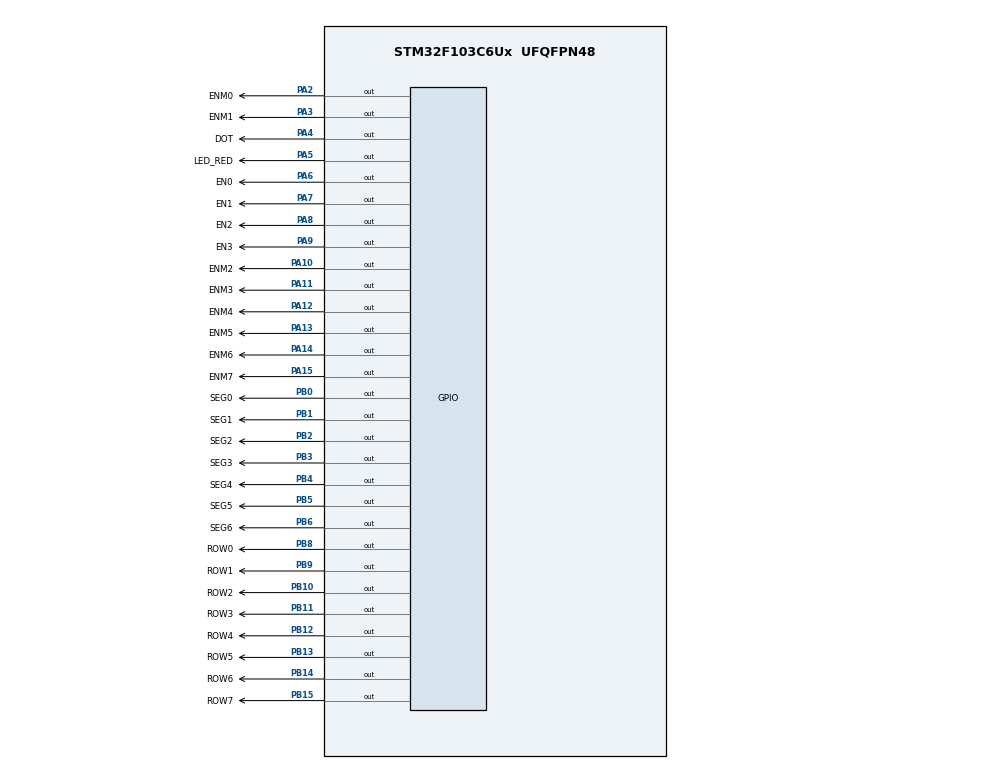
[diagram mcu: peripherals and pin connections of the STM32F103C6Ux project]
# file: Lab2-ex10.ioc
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Mcu.Family=STM32F1
Mcu.Name=STM32F103C6Ux
Mcu.Package=UFQFPN48
NVIC.PriorityGroup=NVIC_PRIORITYGROUP_4
NVIC.TIM2_IRQn=true\:0\:0\:false\:false\:true\:true\:true
PA10.GPIO_Label=ENM2
PA10.Signal=GPIO_Output
PA11.GPIO_Label=ENM3
PA11.Signal=GPIO_Output
PA12.GPIO_Label=ENM4
PA12.Signal=GPIO_Output
PA13.GPIO_Label=ENM5
PA13.Signal=GPIO_Output
PA14.GPIO_Label=ENM6
PA14.Signal=GPIO_Output
PA15.GPIO_Label=ENM7
PA15.Signal=GPIO_Output
PA2.GPIO_Label=ENM0
PA2.Signal=GPIO_Output
PA3.GPIO_Label=ENM1
PA3.Signal=GPIO_Output
PA4.GPIO_Label=DOT
PA4.Signal=GPIO_Output
PA5.GPIO_Label=LED_RED
PA5.Signal=GPIO_Output
PA6.GPIO_Label=EN0
PA6.Signal=GPIO_Output
PA7.GPIO_Label=EN1
PA7.Signal=GPIO_Output
PA8.GPIO_Label=EN2
PA8.Signal=GPIO_Output
PA9.GPIO_Label=EN3
PA9.Signal=GPIO_Output
PB0.GPIO_Label=SEG0
PB0.Signal=GPIO_Output
PB1.GPIO_Label=SEG1
PB1.Signal=GPIO_Output
PB10.GPIO_Label=ROW2
PB10.Signal=GPIO_Output
PB11.GPIO_Label=ROW3
PB11.Signal=GPIO_Output
PB12.GPIO_Label=ROW4
PB12.Signal=GPIO_Output
PB13.GPIO_Label=ROW5
PB13.Signal=GPIO_Output
PB14.GPIO_Label=ROW6
PB14.Signal=GPIO_Output
PB15.GPIO_Label=ROW7
PB15.Signal=GPIO_Output
PB2.GPIO_Label=SEG2
PB2.Signal=GPIO_Output
PB3.GPIO_Label=SEG3
PB3.Signal=GPIO_Output
PB4.GPIO_Label=SEG4
PB4.Signal=GPIO_Output
PB5.GPIO_Label=SEG5
PB5.Signal=GPIO_Output
PB6.GPIO_Label=SEG6
PB6.Signal=GPIO_Output
PB8.GPIO_Label=ROW0
PB8.Signal=GPIO_Output
PB9.GPIO_Label=ROW1
PB9.Signal=GPIO_Output
ProjectManager.HeapSize=0x200
ProjectManager.StackSize=0x400
ProjectManager.TargetToolchain=STM32CubeIDE
RCC.APB1Freq_Value=8000000
RCC.APB2Freq_Value=8000000
TIM2.Period=9
TIM2.Prescaler=7999
VP_SYS_VS_ND.Mode=No_Debug
VP_TIM2_VS_ClockSourceINT.Mode=Internal
board=custom

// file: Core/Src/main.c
/* USER CODE BEGIN Header */
/**
  ******************************************************************************
  * @file           : main.c
  * @brief          : Main program body
  ******************************************************************************
  * @attention
  *
  * <h2><center>&copy; Copyright (c) 2025 STMicroelectronics.
  * All rights reserved.</center></h2>
  *
  * This software component is licensed by ST under BSD 3-Clause license,
  * the "License"; You may not use this file except in compliance with the
  * License. You may obtain a copy of the License at:
  *                        opensource.org/licenses/BSD-3-Clause
  *
  ******************************************************************************
  */
/* USER CODE END Header */
#include "main.h"

TIM_HandleTypeDef htim2;

/* USER CODE BEGIN PV */
int led_buffer[4] = {1, 5, 0, 8};
int index_led = 0;
int hour = 15, minute = 8, second = 50;
int matrix_index = 0;
/* USER CODE END PV */

void SystemClock_Config(void);
static void MX_GPIO_Init(void);
static void MX_TIM2_Init(void);

/* USER CODE BEGIN 0 */
int TIMER_CYCLE = 10;
// Timer 1: To scan 4 LED 7 segment (T = 500ms)
int timer0_counter = 0;
int timer0_flag = 0;

int timer1_counter = 0;
int timer1_flag = 0;

int timer2_counter = 0;
int timer2_flag = 0;

int timer3_counter = 0;
int timer3_flag = 0;

int timer4_counter = 0;
int timer4_flag = 0;

int timer5_counter = 0;
int timer5_flag = 0;

void setTimer0(int duration) {
    timer0_counter = duration / TIMER_CYCLE;
    timer0_flag = 0;
}

void setTimer1(int duration) {
    timer1_counter = duration / TIMER_CYCLE;
    timer1_flag = 0;
}

void setTimer2(int duration) {
    timer2_counter = duration / TIMER_CYCLE;
    timer2_flag = 0;
}

void setTimer3(int duration) {
    timer3_counter = duration / TIMER_CYCLE;
    timer3_flag = 0;
}

void setTimer4(int duration) {
    timer4_counter = duration / TIMER_CYCLE;
    timer4_flag = 0;
}

void setTimer5(int duration) {
    timer5_counter = duration / TIMER_CYCLE;
    timer5_flag = 0;
}
void timerRun() {
    if (timer0_counter > 0) {
        timer0_counter--;
        if (timer0_counter <= 0) {
            timer0_flag = 1;
        }
    }

    if (timer1_counter > 0) {
		timer1_counter--;
		if (timer1_counter <= 0) {
			timer1_flag = 1;
		}
	}

    if (timer2_counter > 0) {
		timer2_counter--;
		if (timer2_counter <= 0) {
			timer2_flag = 1;
		}
	}

    if (timer3_counter > 0) {
		timer3_counter--;
		if (timer3_counter <= 0) {
			timer3_flag = 1;
		}
	}

    if (timer4_counter > 0) {
		timer4_counter--;
		if (timer4_counter <= 0) {
			timer4_flag = 1;
		}
	}

    if (timer5_counter > 0) {
		timer5_counter--;
		if (timer5_counter <= 0) {
			timer5_flag = 1;
		}
	}
}

void updateClockBuffer() {
	led_buffer[0] = hour / 10;
	led_buffer[1] = hour % 10;
	led_buffer[2] = minute / 10;
	led_buffer[3] = minute % 10;
}
void display7SEG(int num) {
    // Turn off all segment
    HAL_GPIO_WritePin(GPIOB, SEG0_Pin|SEG1_Pin|SEG2_Pin|SEG3_Pin|SEG4_Pin|SEG5_Pin|SEG6_Pin, GPIO_PIN_SET);

    switch (num) {
        case 0:
            HAL_GPIO_WritePin(GPIOB, SEG0_Pin|SEG1_Pin|SEG2_Pin|SEG3_Pin|SEG4_Pin|SEG5_Pin, GPIO_PIN_RESET);
            break;
        case 1:
            HAL_GPIO_WritePin(GPIOB, SEG1_Pin|SEG2_Pin, GPIO_PIN_RESET);
            break;
        case 2:
            HAL_GPIO_WritePin(GPIOB, SEG0_Pin|SEG1_Pin|SEG3_Pin|SEG4_Pin|SEG6_Pin, GPIO_PIN_RESET);
            break;
        case 3:
            HAL_GPIO_WritePin(GPIOB, SEG0_Pin|SEG1_Pin|SEG2_Pin|SEG3_Pin|SEG6_Pin, GPIO_PIN_RESET);
            break;
        case 4:
            HAL_GPIO_WritePin(GPIOB, SEG1_Pin|SEG2_Pin|SEG5_Pin|SEG6_Pin, GPIO_PIN_RESET);
            break;
        case 5:
            HAL_GPIO_WritePin(GPIOB, SEG0_Pin|SEG2_Pin|SEG3_Pin|SEG5_Pin|SEG6_Pin, GPIO_PIN_RESET);
            break;
        case 6:
            HAL_GPIO_WritePin(GPIOB, SEG0_Pin|SEG2_Pin|SEG3_Pin|SEG4_Pin|SEG5_Pin|SEG6_Pin, GPIO_PIN_RESET);
            break;
        case 7:
            HAL_GPIO_WritePin(GPIOB, SEG0_Pin|SEG1_Pin|SEG2_Pin, GPIO_PIN_RESET);
            break;
        case 8:
            HAL_GPIO_WritePin(GPIOB, SEG0_Pin|SEG1_Pin|SEG2_Pin|SEG3_Pin|SEG4_Pin|SEG5_Pin|SEG6_Pin, GPIO_PIN_RESET);
            break;
        case 9:
            HAL_GPIO_WritePin(GPIOB, SEG0_Pin|SEG1_Pin|SEG2_Pin|SEG3_Pin|SEG5_Pin|SEG6_Pin, GPIO_PIN_RESET);
            break;
    }
}

void update7SEG(int index){
	HAL_GPIO_WritePin(EN0_GPIO_Port, EN0_Pin, GPIO_PIN_SET);
	HAL_GPIO_WritePin(EN1_GPIO_Port, EN1_Pin, GPIO_PIN_SET);
	HAL_GPIO_WritePin(EN2_GPIO_Port, EN2_Pin, GPIO_PIN_SET);
	HAL_GPIO_WritePin(EN3_GPIO_Port, EN3_Pin, GPIO_PIN_SET);
	display7SEG(led_buffer[index] );
    switch (index){
        case 0:
            HAL_GPIO_WritePin(EN0_GPIO_Port, EN0_Pin, GPIO_PIN_RESET);
            break;
        case 1:
            HAL_GPIO_WritePin(EN1_GPIO_Port, EN1_Pin, GPIO_PIN_RESET);
            break;
        case 2:
            HAL_GPIO_WritePin(EN2_GPIO_Port, EN2_Pin, GPIO_PIN_RESET);
            break;
        case 3:
            HAL_GPIO_WritePin(EN3_GPIO_Port, EN3_Pin, GPIO_PIN_RESET);
            break;
        default:
            break;
    }
}

const int MAX_LED_MATRIX = 8;
uint8_t matrix_buffer[8] = {
    0b00000011, // Cột 0: Phần đỉnh của chữ A
    0b00000001, // Cột 1: Hai chân của A
    0b11101100, // Cột 2: Hai chân A
    0b11101110, // Cột 3: Hai chân A
    0b11101110, // Cột 4: Thanh ngang giữa (tất cả LED sáng)
    0b11101100, // Cột 5: Hai chân A
    0b00000001, // Cột 6: Hai chân A
    0b00000011, // Cột 7: Hai chân A
};

uint8_t shift_left[16] = {
    0b00000011, // Cột 0: Phần đỉnh của chữ A
    0b00000001, // Cột 1: Hai chân của A
    0b11101100, // Cột 2: Hai chân A
    0b11101110, // Cột 3: Hai chân A
    0b11101110, // Cột 4: Thanh ngang giữa (tất cả LED sáng)
    0b11101100, // Cột 5: Hai chân A
    0b00000001, // Cột 6: Hai chân A
    0b00000011, // Cột 7: Hai chân A
	0b11111111,
	0b11111111,
	0b11111111,
	0b11111111,
	0b11111111,
	0b11111111,
	0b11111111,
	0b11111111
};
int tmp = 0;

void updateLEDMatrix(int index){
	HAL_GPIO_WritePin(GPIOA, ENM0_Pin|ENM1_Pin|ENM2_Pin|ENM3_Pin|
	                         ENM4_Pin|ENM5_Pin|ENM6_Pin|ENM7_Pin, GPIO_PIN_SET);
	GPIOB->ODR = (GPIOB->ODR & 0x00FF) | (matrix_buffer[index] << 8);
	switch (index) {
		case 0:
			HAL_GPIO_WritePin(ENM0_GPIO_Port, ENM0_Pin, GPIO_PIN_RESET);
			break;
		case 1:
			HAL_GPIO_WritePin(ENM1_GPIO_Port, ENM1_Pin, GPIO_PIN_RESET);
			break;
		case 2:
			HAL_GPIO_WritePin(ENM2_GPIO_Port, ENM2_Pin, GPIO_PIN_RESET);
			break;
		case 3:
			HAL_GPIO_WritePin(ENM3_GPIO_Port, ENM3_Pin, GPIO_PIN_RESET);
			break;
		case 4:
			HAL_GPIO_WritePin(ENM4_GPIO_Port, ENM4_Pin, GPIO_PIN_RESET);
			break;
		case 5:
			HAL_GPIO_WritePin(ENM5_GPIO_Port, ENM5_Pin, GPIO_PIN_RESET);
			break;
		case 6:
			HAL_GPIO_WritePin(ENM6_GPIO_Port, ENM6_Pin, GPIO_PIN_RESET);
			break;
		case 7:
			HAL_GPIO_WritePin(ENM7_GPIO_Port, ENM7_Pin, GPIO_PIN_RESET);
			break;
	}
}
/* USER CODE END 0 */

int main(void)
{

  /* MCU Configuration--------------------------------------------------------*/

  /* Reset of all peripherals, Initializes the Flash interface and the Systick. */
  HAL_Init();
  SystemClock_Config();

  MX_GPIO_Init();
  MX_TIM2_Init();
  HAL_TIM_Base_Start_IT(&htim2);
  setTimer0(1000); // Cập nhật đồng hồ
  setTimer1(500);  // Nháy đèn DOT
  setTimer2(500);  // Quét LED 7 đoạn
  setTimer3(1000); // LED_RED
  setTimer4(10);
  setTimer5(1000);
  while (1)
  {
	  if (timer0_flag == 1) {
		  second++;
		  if (second >= 60) {
			  second = 0;
			  minute++;
		  }
		  if (minute >= 60) {
			  minute = 0;
			  hour++;
		  }
		  if (hour >= 24) {
			  hour = 0;
		  }
		  // Update buffer
		  updateClockBuffer();
		  setTimer0(1000);
	  }

	  // DOT
	  if (timer1_flag == 1) {
		  HAL_GPIO_TogglePin(DOT_GPIO_Port, DOT_Pin);
		  setTimer1(500);
	  }

	  // Scan LED
	  if (timer2_flag == 1) {
		  update7SEG(index_led++);
		  if (index_led >= 4) {
			  index_led = 0;
		  }
		  setTimer2(500);
	  }

	  // LED_RED
	  if (timer3_flag == 1) {
		  HAL_GPIO_TogglePin(LED_RED_GPIO_Port, LED_RED_Pin);
		  setTimer3(1000);
	  }

	  if (timer4_flag == 1) {
		  updateLEDMatrix(matrix_index++);
		  if (matrix_index >= 8) {
			  matrix_index = 0;
		  }
		  setTimer4(10);
	  }

	  if (timer5_flag == 1) {
		  for (int i = 0; i < 8; i++) {
			  matrix_buffer[i] = shift_left[(tmp + i) % 16];
		  }
		  tmp++;
		  if (tmp >= 16) tmp = 0;
		  setTimer5(1000);
	  }

  }
  /* USER CODE END 3 */
}

void SystemClock_Config(void)
{
  RCC_OscInitTypeDef RCC_OscInitStruct = {0};
  RCC_ClkInitTypeDef RCC_ClkInitStruct = {0};

  /** Initializes the RCC Oscillators according to the specified parameters
  * in the RCC_OscInitTypeDef structure.
  */
  RCC_OscInitStruct.OscillatorType = RCC_OSCILLATORTYPE_HSI;
  RCC_OscInitStruct.HSIState = RCC_HSI_ON;
  RCC_OscInitStruct.HSICalibrationValue = RCC_HSICALIBRATION_DEFAULT;
  RCC_OscInitStruct.PLL.PLLState = RCC_PLL_NONE;
  if (HAL_RCC_OscConfig(&RCC_OscInitStruct) != HAL_OK)
  {
    Error_Handler();
  }
  /** Initializes the CPU, AHB and APB buses clocks
  */
  RCC_ClkInitStruct.ClockType = RCC_CLOCKTYPE_HCLK|RCC_CLOCKTYPE_SYSCLK
                              |RCC_CLOCKTYPE_PCLK1|RCC_CLOCKTYPE_PCLK2;
  RCC_ClkInitStruct.SYSCLKSource = RCC_SYSCLKSOURCE_HSI;
  RCC_ClkInitStruct.AHBCLKDivider = RCC_SYSCLK_DIV1;
  RCC_ClkInitStruct.APB1CLKDivider = RCC_HCLK_DIV1;
  RCC_ClkInitStruct.APB2CLKDivider = RCC_HCLK_DIV1;

  if (HAL_RCC_ClockConfig(&RCC_ClkInitStruct, FLASH_LATENCY_0) != HAL_OK)
  {
    Error_Handler();
  }
}

static void MX_TIM2_Init(void)
{

  TIM_ClockConfigTypeDef sClockSourceConfig = {0};
  TIM_MasterConfigTypeDef sMasterConfig = {0};

  htim2.Instance = TIM2;
  htim2.Init.Prescaler = 7999;
  htim2.Init.CounterMode = TIM_COUNTERMODE_UP;
  htim2.Init.Period = 9;
  htim2.Init.ClockDivision = TIM_CLOCKDIVISION_DIV1;
  htim2.Init.AutoReloadPreload = TIM_AUTORELOAD_PRELOAD_DISABLE;
  if (HAL_TIM_Base_Init(&htim2) != HAL_OK)
  {
    Error_Handler();
  }
  sClockSourceConfig.ClockSource = TIM_CLOCKSOURCE_INTERNAL;
  if (HAL_TIM_ConfigClockSource(&htim2, &sClockSourceConfig) != HAL_OK)
  {
    Error_Handler();
  }
  sMasterConfig.MasterOutputTrigger = TIM_TRGO_RESET;
  sMasterConfig.MasterSlaveMode = TIM_MASTERSLAVEMODE_DISABLE;
  if (HAL_TIMEx_MasterConfigSynchronization(&htim2, &sMasterConfig) != HAL_OK)
  {
    Error_Handler();
  }

}

static void MX_GPIO_Init(void)
{
  GPIO_InitTypeDef GPIO_InitStruct = {0};

  /* GPIO Ports Clock Enable */
  __HAL_RCC_GPIOA_CLK_ENABLE();
  __HAL_RCC_GPIOB_CLK_ENABLE();

  /*Configure GPIO pin Output Level */
  HAL_GPIO_WritePin(GPIOA, ENM0_Pin|ENM1_Pin|DOT_Pin|LED_RED_Pin
                          |EN0_Pin|EN1_Pin|EN2_Pin|EN3_Pin
                          |ENM2_Pin|ENM3_Pin|ENM4_Pin|ENM5_Pin
                          |ENM6_Pin|ENM7_Pin, GPIO_PIN_RESET);

  /*Configure GPIO pin Output Level */
  HAL_GPIO_WritePin(GPIOB, SEG0_Pin|SEG1_Pin|SEG2_Pin|ROW2_Pin
                          |ROW3_Pin|ROW4_Pin|ROW5_Pin|ROW6_Pin
                          |ROW7_Pin|SEG3_Pin|SEG4_Pin|SEG5_Pin
                          |SEG6_Pin|ROW0_Pin|ROW1_Pin, GPIO_PIN_RESET);

  /*Configure GPIO pins : ENM0_Pin ENM1_Pin DOT_Pin LED_RED_Pin
                           EN0_Pin EN1_Pin EN2_Pin EN3_Pin
                           ENM2_Pin ENM3_Pin ENM4_Pin ENM5_Pin
                           ENM6_Pin ENM7_Pin */
  GPIO_InitStruct.Pin = ENM0_Pin|ENM1_Pin|DOT_Pin|LED_RED_Pin
                          |EN0_Pin|EN1_Pin|EN2_Pin|EN3_Pin
                          |ENM2_Pin|ENM3_Pin|ENM4_Pin|ENM5_Pin
                          |ENM6_Pin|ENM7_Pin;
  GPIO_InitStruct.Mode = GPIO_MODE_OUTPUT_PP;
  GPIO_InitStruct.Pull = GPIO_NOPULL;
  GPIO_InitStruct.Speed = GPIO_SPEED_FREQ_LOW;
  HAL_GPIO_Init(GPIOA, &GPIO_InitStruct);

  /*Configure GPIO pins : SEG0_Pin SEG1_Pin SEG2_Pin ROW2_Pin
                           ROW3_Pin ROW4_Pin ROW5_Pin ROW6_Pin
                           ROW7_Pin SEG3_Pin SEG4_Pin SEG5_Pin
                           SEG6_Pin ROW0_Pin ROW1_Pin */
  GPIO_InitStruct.Pin = SEG0_Pin|SEG1_Pin|SEG2_Pin|ROW2_Pin
                          |ROW3_Pin|ROW4_Pin|ROW5_Pin|ROW6_Pin
                          |ROW7_Pin|SEG3_Pin|SEG4_Pin|SEG5_Pin
                          |SEG6_Pin|ROW0_Pin|ROW1_Pin;
  GPIO_InitStruct.Mode = GPIO_MODE_OUTPUT_PP;
  GPIO_InitStruct.Pull = GPIO_NOPULL;
  GPIO_InitStruct.Speed = GPIO_SPEED_FREQ_LOW;
  HAL_GPIO_Init(GPIOB, &GPIO_InitStruct);

}

/* USER CODE BEGIN 4 */
void HAL_TIM_PeriodElapsedCallback(TIM_HandleTypeDef *htim) {
	timerRun();
}
/* USER CODE END 4 */

void Error_Handler(void)
{
  __disable_irq();
  while (1)
  {
  }
}

/************************ (C) COPYRIGHT STMicroelectronics *****END OF FILE****/
